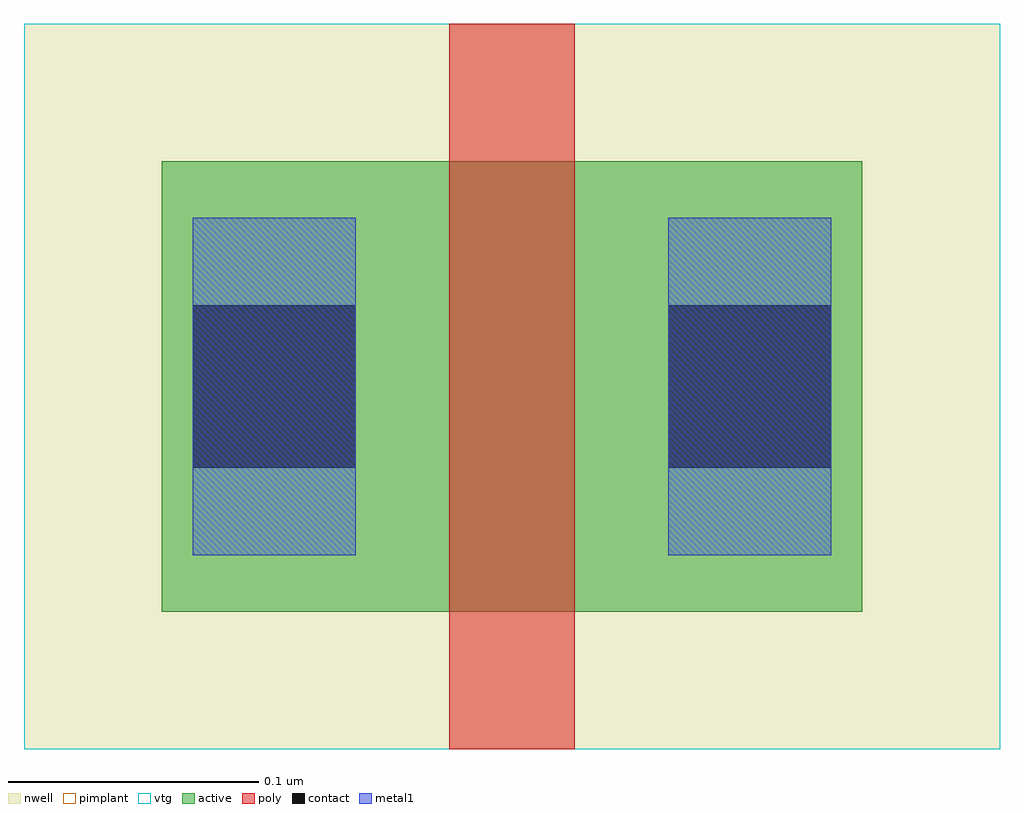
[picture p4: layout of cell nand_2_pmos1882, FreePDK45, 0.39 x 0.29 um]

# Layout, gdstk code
import gdstk
lib = gdstk.Library(unit=1e-6, precision=5e-10)
def R(c, l, rs):  # rectangles x0, y0, x1, y1
    for r in rs: c.add(gdstk.rectangle(r[:2], r[2:], *l))
active = (1, 0)
nwell = (3, 0)
pimplant = (5, 0)
vtg = (6, 0)
poly = (9, 0)
contact = (10, 0)
metal1 = (11, 0)

contact_1x1_num12670 = lib.new_cell('contact_1x1_num12670')
R(contact_1x1_num12670, active, [(0,0.0225,0.09,0.1125)])
R(contact_1x1_num12670, contact, [(0.0125,0.035,0.0775,0.1)])
R(contact_1x1_num12670, metal1, [(0.0125,0,0.0775,0.135)])

contact_1x1_num12671 = lib.new_cell('contact_1x1_num12671')
R(contact_1x1_num12671, active, [(0,0.0225,0.09,0.1125)])
R(contact_1x1_num12671, contact, [(0.0125,0.035,0.0775,0.1)])
R(contact_1x1_num12671, metal1, [(0.0125,0,0.0775,0.135)])

nand_2_pmos1882 = lib.new_cell('nand_2_pmos1882')
R(nand_2_pmos1882, active, [(0.055,0.055,0.335,0.235)])
R(nand_2_pmos1882, nwell, [(0,0,0.39,0.29)])
R(nand_2_pmos1882, pimplant, [(0.055,0.055,0.335,0.235)])
R(nand_2_pmos1882, vtg, [(0,0,0.39,0.29)])
R(nand_2_pmos1882, poly, [(0.17,0,0.22,0.29)])
nand_2_pmos1882.add(gdstk.Reference(contact_1x1_num12670, (0.055,0.0775)))
nand_2_pmos1882.add(gdstk.Reference(contact_1x1_num12671, (0.245,0.0775)))

lib.write_gds('nand_2_pmos1882.gds')
